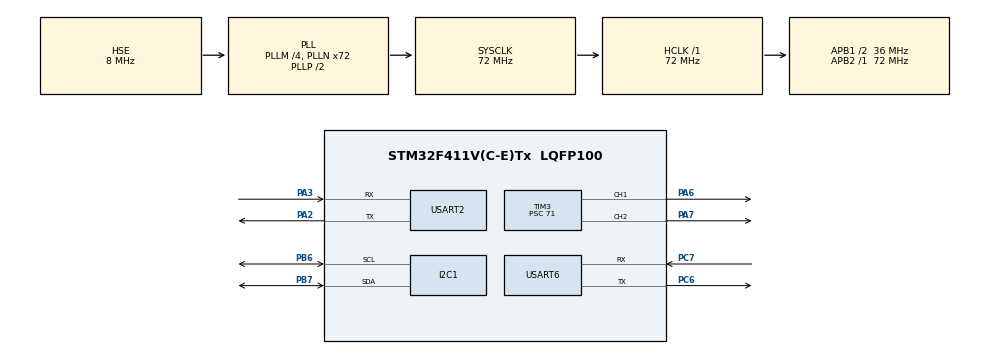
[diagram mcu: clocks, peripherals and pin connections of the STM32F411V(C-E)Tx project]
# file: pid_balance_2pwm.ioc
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Dma.Request0=USART6_RX
Dma.USART6_RX.0.Direction=DMA_PERIPH_TO_MEMORY
Dma.USART6_RX.0.FIFOMode=DMA_FIFOMODE_DISABLE
Dma.USART6_RX.0.Instance=DMA2_Stream1
Dma.USART6_RX.0.MemDataAlignment=DMA_MDATAALIGN_BYTE
Dma.USART6_RX.0.MemInc=DMA_MINC_ENABLE
Dma.USART6_RX.0.Mode=DMA_CIRCULAR
Dma.USART6_RX.0.PeriphDataAlignment=DMA_PDATAALIGN_BYTE
Dma.USART6_RX.0.PeriphInc=DMA_PINC_DISABLE
Dma.USART6_RX.0.Priority=DMA_PRIORITY_LOW
Mcu.Family=STM32F4
Mcu.Name=STM32F411V(C-E)Tx
Mcu.Package=LQFP100
NVIC.DMA2_Stream1_IRQn=true\:0\:0\:false\:false\:true\:false\:true\:true
NVIC.PriorityGroup=NVIC_PRIORITYGROUP_4
NVIC.USART2_IRQn=true\:0\:0\:false\:false\:true\:true\:true\:true
NVIC.USART6_IRQn=true\:0\:0\:false\:false\:true\:true\:true\:true
PA2.Mode=Asynchronous
PA2.Signal=USART2_TX
PA3.Mode=Asynchronous
PA3.Signal=USART2_RX
PA6.Signal=S_TIM3_CH1
PA7.Signal=S_TIM3_CH2
PB6.Mode=I2C
PB6.Signal=I2C1_SCL
PB7.Mode=I2C
PB7.Signal=I2C1_SDA
PC14-OSC32_IN.Mode=LSE-External-Oscillator
PC14-OSC32_IN.Signal=RCC_OSC32_IN
PC15-OSC32_OUT.Mode=LSE-External-Oscillator
PC15-OSC32_OUT.Signal=RCC_OSC32_OUT
PC6.Mode=Asynchronous
PC6.Signal=USART6_TX
PC7.Mode=Asynchronous
PC7.Signal=USART6_RX
PH0\ -\ OSC_IN.Mode=HSE-External-Oscillator
PH0\ -\ OSC_IN.Signal=RCC_OSC_IN
PH1\ -\ OSC_OUT.Mode=HSE-External-Oscillator
PH1\ -\ OSC_OUT.Signal=RCC_OSC_OUT
ProjectManager.HeapSize=0x200
ProjectManager.StackSize=0x400
ProjectManager.TargetToolchain=MDK-ARM V5.32
RCC.48MHZClocksFreq_Value=36000000
RCC.AHBFreq_Value=72000000
RCC.APB1CLKDivider=RCC_HCLK_DIV2
RCC.APB1Freq_Value=36000000
RCC.APB1TimFreq_Value=72000000
RCC.APB2Freq_Value=72000000
RCC.APB2TimFreq_Value=72000000
RCC.CortexFreq_Value=72000000
RCC.HCLKFreq_Value=72000000
RCC.HSE_VALUE=8000000
RCC.HSI_VALUE=16000000
RCC.PLLM=4
RCC.PLLN=72
RCC.PLLSourceVirtual=RCC_PLLSOURCE_HSE
RCC.SYSCLKFreq_VALUE=72000000
RCC.SYSCLKSource=RCC_SYSCLKSOURCE_PLLCLK
RCC.VCOOutputFreq_Value=144000000
SH.S_TIM3_CH1.0=TIM3_CH1,PWM Generation1 CH1
SH.S_TIM3_CH2.0=TIM3_CH2,PWM Generation2 CH2
TIM3.Channel-PWM\ Generation1\ CH1=TIM_CHANNEL_1
TIM3.Channel-PWM\ Generation2\ CH2=TIM_CHANNEL_2
TIM3.Prescaler=71
USART2.VirtualMode=VM_ASYNC
USART6.VirtualMode=VM_ASYNC
VP_TIM3_VS_ClockSourceINT.Mode=Internal
board=custom

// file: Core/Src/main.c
/* USER CODE BEGIN Header */
/**
  ******************************************************************************
  * @file           : main.c
  * @brief          : Main program body
  ******************************************************************************
  * @attention
  *
  * Copyright (c) 2025 STMicroelectronics.
  * All rights reserved.
  *
  * This software is licensed under terms that can be found in the LICENSE file
  * in the root directory of this software component.
  * If no LICENSE file comes with this software, it is provided AS-IS.
  *
  ******************************************************************************
  */
/* USER CODE END Header */
#include "math.h"
#include "main.h"
#include "dma.h"
#include "i2c.h"
#include "tim.h"
#include "usart.h"
#include "gpio.h"

void SystemClock_Config(void);
/* USER CODE BEGIN PFP */
#include <stdio.h>
#include <string.h>

#define PUTCHAR_PROTOTYPE int __io_putchar(int ch)
PUTCHAR_PROTOTYPE
{
  /* Place your implementation of fputc here */
  /* e.g. write a character to the USART1 and Loop until the end of transmission */
  HAL_UART_Transmit(&huart2, (uint8_t *)&ch, 1, 0xFFFF);

  return ch;
}

FILE __stdout;

int fputc(int ch, FILE *f){
	HAL_UART_Transmit(&huart2, (uint8_t *)&ch, 1, 0xFFFF);
  return ch;
}

int ferror(FILE *f){
  /* Your implementation of ferror(). */
  return 0;
}
/* USER CODE END PFP */

/* USER CODE BEGIN 0 */

#define IBUS_FRAME_SIZE 32
#define MPU6050_ADDR 0x68 << 1
#define MPU6250_ADDR_R (0x68 << 1 | 1)
#define MPU6250_ADDR_W (0x68 << 1)
#define PI 3.14159265359f
#define PERIOD_MS 100.0f
#define A2212_CH2_Offset 100

uint8_t ibus_buffer[IBUS_FRAME_SIZE]={};
uint16_t ibus_channels[10]={};
uint16_t cur_channels[10]={};
int idx=0, ibus_idx =0;
int count=0;

enum {
	eCH1 = 0,
	eCH2,
	eCH3_THROTTLE,
	eCH4,
};

void MPU6250_Init(void)
{
	uint8_t data = 0x00;
	HAL_I2C_Mem_Write(&hi2c1, MPU6050_ADDR, 0x6B, I2C_MEMADD_SIZE_8BIT, &data, 1, HAL_MAX_DELAY);
}

int16_t Accel_X, Accel_Y, Accel_Z;
int16_t Gyro_X, Gyro_Y, Gyro_Z;

// PID parameter
float Kp = 0.780;
float Ki = 0.00270;//0.05;
float Kd = 8;//1;//2.35;//10.5;

void MPU6250_ReadData(void)
{
	uint8_t mpu_data[14];
	HAL_I2C_Mem_Read(&hi2c1, MPU6050_ADDR, 0x3B, I2C_MEMADD_SIZE_8BIT, mpu_data, 14, HAL_MAX_DELAY);

	Accel_X = (int16_t)(mpu_data[0] << 8 | mpu_data[1]);
	Accel_Y = (int16_t)(mpu_data[2] << 8 | mpu_data[3]);
	Accel_Z = (int16_t)(mpu_data[4] << 8 | mpu_data[5]);

	Gyro_X  = (int16_t)(mpu_data[8] << 8 | mpu_data[9]);
	Gyro_Y  = (int16_t)(mpu_data[10] << 8 | mpu_data[11]);
	Gyro_Z  = (int16_t)(mpu_data[12] << 8 | mpu_data[13]);
}

float Accel_Xg, Accel_Yg, Accel_Zg;
float Gyro_Xdps, Gyro_Ydps, Gyro_Zdps;

float gyro_x_offset = 0;
float gyro_y_offset = 0;
float gyro_z_offset = 0;

void Convert_MPU_Data(void)
{
	Accel_Xg = Accel_X / 16384.0;
	Accel_Yg = Accel_Y / 16384.0;
	Accel_Zg = Accel_Z / 16384.0;

	if( (gyro_x_offset == 0) && (gyro_y_offset == 0) && (gyro_z_offset == 0) ){
		Gyro_Xdps = Gyro_X / 131.0;
		Gyro_Ydps = Gyro_Y / 131.0;
		Gyro_Zdps = Gyro_Z / 131.0;
	}else{
		Gyro_Xdps = (Gyro_X / 131.0) - gyro_x_offset;
		Gyro_Ydps = (Gyro_Y / 131.0) - gyro_y_offset;
		Gyro_Zdps = (Gyro_Z / 131.0) - gyro_z_offset;
	}
}

//initial MPU6250
void Calibrate_Gyro_Offset()
{
    int samples = 1000;
    float sum_x = 0, sum_y = 0, sum_z = 0;

    for (int i = 0; i < samples; i++) {
        MPU6250_ReadData(); // raw value or dps, ?????
				Convert_MPU_Data();

        sum_x += Gyro_Xdps;
        sum_y += Gyro_Ydps;
        sum_z += Gyro_Zdps;
        HAL_Delay(2); // ??????????
    }

    gyro_x_offset = sum_x / samples;
    gyro_y_offset = sum_y / samples;
    gyro_z_offset = sum_z / samples;
}

void show_MPU_Data()
{
	printf("Accel: X=%.2fg Y=%.2fg Z=%.2fg\r\n", Accel_Xg, Accel_Yg, Accel_Zg);
	printf("Gyro: X=%.2f Y=%.2f Z=%.2f\r\n"   , Gyro_Xdps, Gyro_Ydps, Gyro_Zdps);
}

//TIM_CHANNEL_ALL
void start_pwm(int ch) {
	HAL_TIM_PWM_Start(&htim3,ch);
}

void stop_pwm(int ch) {
	HAL_TIM_PWM_Stop(&htim3, ch);
}

void set_pwm(int ch, int pwmVal) {
	if(TIM_CHANNEL_2 == ch)
		pwmVal = pwmVal+A2212_CH2_Offset;
	__HAL_TIM_SetCompare(&htim3, ch, pwmVal);
}

void IBUS_Init() {
	HAL_UARTEx_ReceiveToIdle_IT(&huart6, ibus_buffer, IBUS_FRAME_SIZE);
}

void IBUS_update_ch() {
	for(int i=0;i<10;i++){
		cur_channels[i] = ibus_channels[i];
	}
}

void IBUS_show_ch() {

	printf("CH1:%d  CH2:%d  CH3:%d  CH4:%d  CH5:%d  CH6:%d\r\n",
					cur_channels[0], cur_channels[1], cur_channels[2],
					cur_channels[3], cur_channels[4], cur_channels[5]);
}

int pwm_filter(int val)
{
	if(val <= 1000){
		return 1000;
	}else if(val > 2000){
		return 2000;
	}else{
		return val;
	}
}

void update_ch3(int val, float pid)
{
	int pwm_l = pwm_filter(val+(pid/2.0));
	int pwm_r = pwm_filter(val-(pid/2.0));

	set_pwm(TIM_CHANNEL_1, pwm_l);
	set_pwm(TIM_CHANNEL_2, pwm_r);
}

uint32_t currentTime=0, lastTime=0;
float error=0.0, lastError=0.0;
float	targetAngle=0.0, angleOffset=0.0;
float	prev_angle=0.0, curAngle=0.0;
float dt, integral=0.0;
float pidOutput=0.0, prev_pidOutput=0.0;

void angle_calculate()
{
  currentTime = HAL_GetTick();
	if(0 == lastTime) goto UPDATE_TS;
  dt = (currentTime - lastTime)/PERIOD_MS;

  //------- acc --------------------------
  float _angle = -atan2(Accel_Yg, Accel_Zg) * 180 / PI - angleOffset;

  //-------  ---------------
	curAngle = 0.82 * (curAngle + Gyro_Xdps * dt / 1000) + 0.18 * _angle;

	//printf("Gyro_Xdps:%f \r\n", Gyro_Xdps);
	//printf("cur_ts:%u, last_ts:%u, dt:%f\r\n", currentTime, lastTime, dt);
	//printf("_angle:%f, curAngle:%f \r\n", _angle, curAngle);

	prev_angle = curAngle;
UPDATE_TS:
  lastTime = currentTime;
}

void pid_calculate()
{
	if(0 == dt) return;
  error = curAngle-targetAngle;

	// pid_i:
	//if(error > -3.0 && error < 3.0){
		integral += error*dt;
	//}

	// pid_d:
  float derivative = (error-lastError)/dt;
	float PID = Kp * error + Ki * integral + Kd * derivative;

	pidOutput = 0.80*prev_pidOutput + 0.20*PID;
	//printf("prev_pidOutput:%f pidOutput:%f PID:%f\r\n", prev_pidOutput, pidOutput, PID);
	prev_pidOutput = pidOutput;
	lastError = error;

  //printf("%f\r\n", pidOutput);
	printf("curAngle:%f P:%f\t I:%f\t D:%f\r\n", curAngle, Kp * error, Ki * integral, Kd * derivative);
	//printf("curAngle:%f PID:%f\r\n", curAngle, PID);
}

void IBUS_2pwm() {
	int throttle;

	// update CH3: throttle
	throttle = pwm_filter(cur_channels[2]);

	angle_calculate();
	pid_calculate();

	update_ch3(throttle, pidOutput);//pidOutput
}

void IBUS_Parse() {
    if (ibus_buffer[0] != 0x20 || ibus_buffer[1] != 0x40) {
        return;
    }

    uint8_t checksum = 0;
    for (int i = 0; i < 31; i++) {
        checksum += ibus_buffer[i];
			  //printf("%d: %02x ", i, ibus_buffer[i]);
    }
		//printf("\n");

		//printf("CRC = %d, b[31] = %d \n", checksum, ibus_buffer[31]);
    //if (checksum == ibus_buffer[31]) {
        for (int i = 0; i < 10; i++) {  // ??? 10 ???
            ibus_channels[i] = ibus_buffer[4 + (i * 2)] | (ibus_buffer[3 + (i * 2)] << 8);
        }

        //printf("CH1:%d  CH2:%d  CH3:%d  CH4:%d  CH5:%d  CH6:%d\r\n",
        //    ibus_channels[0], ibus_channels[1], ibus_channels[2],
        //    ibus_channels[3], ibus_channels[4], ibus_channels[5]);
    //}
}

void HAL_UARTEx_RxEventCallback(UART_HandleTypeDef *huart, uint16_t size)
{
	if (huart->Instance == USART2){
		idx = size;
	}else if (huart->Instance == USART6){
		ibus_idx = size;

		if(count % 100 == 0){
			IBUS_Parse();
			IBUS_update_ch();
		}

		memset(&ibus_buffer, 0, sizeof(ibus_buffer));
		IBUS_Init();
		count++;
	}
}

/* USER CODE END 0 */

int main(void)
{

  /* MCU Configuration--------------------------------------------------------*/

  /* Reset of all peripherals, Initializes the Flash interface and the Systick. */
  HAL_Init();

  /* Configure the system clock */
  SystemClock_Config();

  /* Initialize all configured peripherals */
  MX_GPIO_Init();
  MX_DMA_Init();
  MX_USART2_UART_Init();
  MX_USART6_UART_Init();
	MX_TIM3_Init();

	printf("### init: i2c MPU\r\n");
  MX_I2C1_Init();

  /* USER CODE BEGIN 2 */
	MPU6250_Init();
	Calibrate_Gyro_Offset();

	printf("### init: pwm\r\n");
	start_pwm(TIM_CHANNEL_1);
	start_pwm(TIM_CHANNEL_2);

	set_pwm(TIM_CHANNEL_1, 1000);
	set_pwm(TIM_CHANNEL_2, 1000);

	HAL_Delay(2000);
	printf("### init: IBUS\r\n");

	IBUS_Init();
  /* USER CODE END 2 */

  /* Infinite loop */
  /* USER CODE BEGIN WHILE */
  while (1)
  {
		count++;
    /* USER CODE END WHILE */

    /* USER CODE BEGIN 3 */
		MPU6250_ReadData();
		Convert_MPU_Data();

		if(count % 10 == 0){
			IBUS_2pwm();
		}

		if(count % 200 == 0){
			show_MPU_Data();
			IBUS_show_ch();
		}

		HAL_Delay(10);
  }

	stop_pwm(TIM_CHANNEL_1);
	stop_pwm(TIM_CHANNEL_2);
  /* USER CODE END 3 */
}

void SystemClock_Config(void)
{
  RCC_OscInitTypeDef RCC_OscInitStruct = {0};
  RCC_ClkInitTypeDef RCC_ClkInitStruct = {0};

  /** Configure the main internal regulator output voltage
  */
  __HAL_RCC_PWR_CLK_ENABLE();
  __HAL_PWR_VOLTAGESCALING_CONFIG(PWR_REGULATOR_VOLTAGE_SCALE1);

  /** Initializes the RCC Oscillators according to the specified parameters
  * in the RCC_OscInitTypeDef structure.
  */
  RCC_OscInitStruct.OscillatorType = RCC_OSCILLATORTYPE_HSE;
  RCC_OscInitStruct.HSEState = RCC_HSE_ON;
  RCC_OscInitStruct.PLL.PLLState = RCC_PLL_ON;
  RCC_OscInitStruct.PLL.PLLSource = RCC_PLLSOURCE_HSE;
  RCC_OscInitStruct.PLL.PLLM = 4;
  RCC_OscInitStruct.PLL.PLLN = 72;
  RCC_OscInitStruct.PLL.PLLP = RCC_PLLP_DIV2;
  RCC_OscInitStruct.PLL.PLLQ = 4;
  if (HAL_RCC_OscConfig(&RCC_OscInitStruct) != HAL_OK)
  {
    Error_Handler();
  }

  /** Initializes the CPU, AHB and APB buses clocks
  */
  RCC_ClkInitStruct.ClockType = RCC_CLOCKTYPE_HCLK|RCC_CLOCKTYPE_SYSCLK
                              |RCC_CLOCKTYPE_PCLK1|RCC_CLOCKTYPE_PCLK2;
  RCC_ClkInitStruct.SYSCLKSource = RCC_SYSCLKSOURCE_PLLCLK;
  RCC_ClkInitStruct.AHBCLKDivider = RCC_SYSCLK_DIV1;
  RCC_ClkInitStruct.APB1CLKDivider = RCC_HCLK_DIV2;
  RCC_ClkInitStruct.APB2CLKDivider = RCC_HCLK_DIV1;

  if (HAL_RCC_ClockConfig(&RCC_ClkInitStruct, FLASH_LATENCY_2) != HAL_OK)
  {
    Error_Handler();
  }
}

void Error_Handler(void)
{
  __disable_irq();
  while (1)
  {
  }
}
